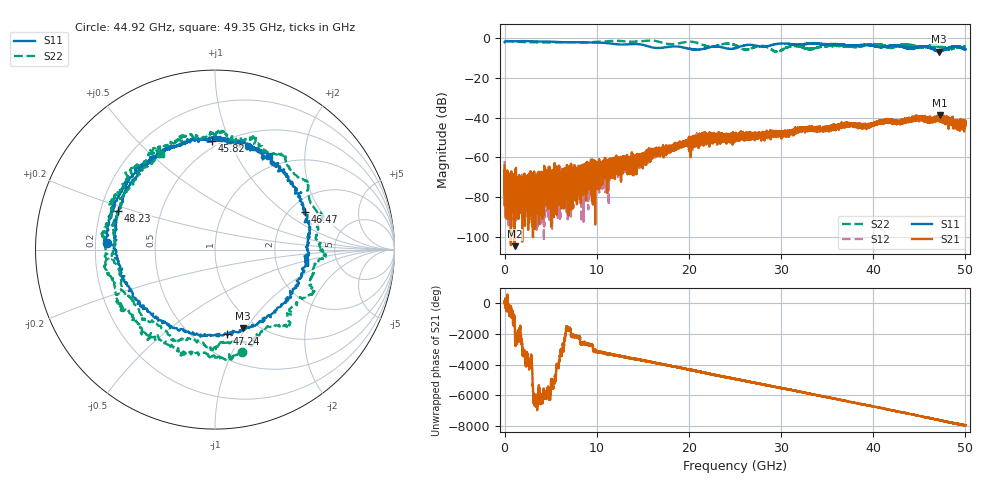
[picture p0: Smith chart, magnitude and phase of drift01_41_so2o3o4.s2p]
!Created with skrf (http://scikit-rf.org).
# Hz S RI R 50.0
!freq ReS11 ImS11 ReS21 ImS21 ReS12 ImS12 ReS22 ImS22
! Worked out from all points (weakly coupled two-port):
!   10001 points, 300 kHz to 50 GHz, reference 50 ohm
!   highest |S21| = -38.80 dB at 47.23 GHz (marker M1); lowest = -104.7 dB at 1.09 GHz (marker M2)
!   lowest |S11| = -6.7 dB at 47.15 GHz (marker M3), VSWR 2.72, Z = 43.4 - j48.2 ohm
!   |S11| at or under -10 dB: nowhere
!   |S22| runs from -6.9 to -1.0 dB; largest |S21 - S12| = 0.0039
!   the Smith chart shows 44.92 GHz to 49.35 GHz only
!   S11 on the Smith chart (normalised r, x): 44.92 GHz: 0.25, +0.03; 45.82 GHz: 0.45, +0.86; 46.47 GHz: 2.41, +1.44; 47.24 GHz: 0.71, -0.86; 48.23 GHz: 0.27, +0.18; 49.35 GHz: 0.83, +1.37
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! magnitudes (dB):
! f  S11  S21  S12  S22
! 300 kHz  -2.0  -64.1  -61.8  -1.3
! 255.3 MHz  -1.4  -71.5  -70.8  -1.4
! 1.09 GHz  -1.5  -104.7  -75.0  -1.6
! 3.225 GHz  -1.5  -74.4  -76.6  -2.0
! 8.335 GHz  -1.9  -69.1  -63.8  -2.1
! 16.67 GHz  -4.8  -57.0  -57.5  -1.6
! 22.15 GHz  -4.6  -48.5  -51.8  -4.1
! 25 GHz  -5.0  -48.8  -50.5  -3.4
! 28.09 GHz  -4.3  -48.1  -48.5  -3.8
! 29.52 GHz  -2.8  -48.8  -48.0  -6.7
! 31.29 GHz  -3.1  -47.7  -47.2  -4.0
! 33.34 GHz  -2.6  -45.4  -45.7  -5.4
! 41.67 GHz  -3.9  -41.4  -41.9  -4.5
! 44.92 GHz  -4.4  -40.3  -40.6  -4.6
! 45.82 GHz  -4.4  -42.0  -40.8  -4.1
! 46.47 GHz  -5.3  -41.1  -40.8  -3.6
! 47.15 GHz  -6.7  -40.7  -40.9  -4.0
! 47.23 GHz  -6.5  -38.8  -39.9  -4.5
! 47.24 GHz  -6.5  -40.1  -39.8  -4.4
! 48.23 GHz  -4.7  -40.7  -41.4  -5.6
! 49.35 GHz  -4.4  -44.4  -42.6  -4.3
! 50 GHz  -5.6  -42.3  -42.4  -4.3
